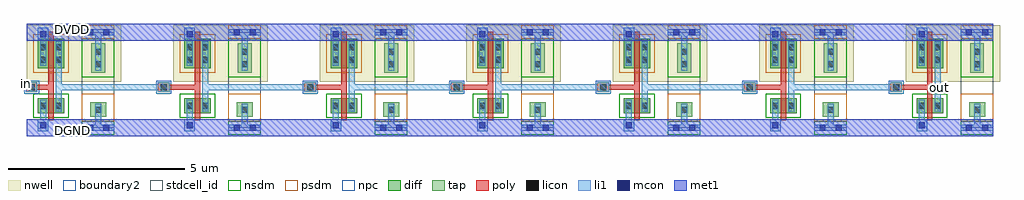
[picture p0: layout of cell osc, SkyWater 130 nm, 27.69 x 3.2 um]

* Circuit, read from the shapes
.subckt osc DGND DVDD in out
XM1 n1 in DGND DGND sky130_fd_pr__nfet_01v8 w=0.42 l=0.15
XM2 n2 n1 DGND DGND sky130_fd_pr__nfet_01v8 w=0.42 l=0.15
XM3 n3 n2 DGND DGND sky130_fd_pr__nfet_01v8 w=0.42 l=0.15
XM4 n4 n3 DGND DGND sky130_fd_pr__nfet_01v8 w=0.42 l=0.15
XM5 n5 n4 DGND DGND sky130_fd_pr__nfet_01v8 w=0.42 l=0.15
XM6 n6 n5 DGND DGND sky130_fd_pr__nfet_01v8 w=0.42 l=0.15
XM7 out n6 DGND DGND sky130_fd_pr__nfet_01v8 w=0.42 l=0.15
XM8 n1 in DVDD DVDD sky130_fd_pr__pfet_01v8 w=0.84 l=0.15
XM9 n2 n1 DVDD DVDD sky130_fd_pr__pfet_01v8 w=0.84 l=0.15
XM10 n3 n2 DVDD DVDD sky130_fd_pr__pfet_01v8 w=0.84 l=0.15
XM11 n4 n3 DVDD DVDD sky130_fd_pr__pfet_01v8 w=0.84 l=0.15
XM12 n5 n4 DVDD DVDD sky130_fd_pr__pfet_01v8 w=0.84 l=0.15
XM13 n6 n5 DVDD DVDD sky130_fd_pr__pfet_01v8 w=0.84 l=0.15
XM14 out n6 DVDD DVDD sky130_fd_pr__pfet_01v8 w=0.84 l=0.15
.ends

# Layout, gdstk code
import gdstk
lib = gdstk.Library(unit=1e-6, precision=1e-09)
def R(c, l, rs):  # rectangles x0, y0, x1, y1
    for r in rs: c.add(gdstk.rectangle(r[:2], r[2:], *l))
nwell = (64, 20)
diff = (65, 20)
tap = (65, 44)
poly = (66, 20)
licon = (66, 44)
li1 = (67, 20)
mcon = (67, 44)
met1 = (68, 20)
stdcell_id = (81, 4)
nsdm = (93, 44)
psdm = (94, 20)
npc = (95, 20)
boundary2 = (236, 0)

tap_ = lib.new_cell('tap')
R(tap_, nwell, [(-0.19,1.305,1.11,2.91)])
R(tap_, tap, [(0.235,0.315,0.685,0.735), (0.265,1.565,0.655,2.405)])
R(tap_, licon, [(0.375,0.425,0.545,0.595), (0.375,1.72,0.545,1.89), (0.375,2.08,0.545,2.25)])
R(tap_, li1, [(0,-0.085,0.92,0.085), (0.375,0,0.545,0.69), (0.375,1.625,0.545,2.72), (0,2.635,0.92,2.805)])
R(tap_, mcon, [(0.145,-0.085,0.315,0.085), (0.605,-0.085,0.775,0.085), (0.145,2.635,0.315,2.805), (0.605,2.635,0.775,2.805)])
R(tap_, met1, [(0,-0.24,0.92,0.24), (0,2.48,0.92,2.96)])
R(tap_, stdcell_id, [(0,0,0.92,2.72)])
R(tap_, nsdm, [(0,-0.19,0.92,0.19), (0,1.44,0.92,2.53)])
R(tap_, psdm, [(0,0.19,0.92,0.975), (0,2.53,0.92,2.91)])
R(tap_, boundary2, [(0,0,0.92,2.72)])
tap_.add(gdstk.Label('tap', (0,0), layer=83, texttype=44))

pfet = lib.new_cell('pfet')
R(pfet, nwell, [(-0.315,-0.39,1.065,1.23)])
R(pfet, diff, [(0,0,0.75,0.84)])
R(pfet, poly, [(0.3,-0.2,0.45,1.04)])
R(pfet, licon, [(0.065,0.155,0.235,0.325), (0.515,0.155,0.685,0.325), (0.065,0.515,0.235,0.685), (0.515,0.515,0.685,0.685)])
R(pfet, li1, [(0.065,0.075,0.235,0.765), (0.515,0.075,0.685,0.765)])
R(pfet, psdm, [(-0.125,-0.125,0.875,0.965)])

nfet = lib.new_cell('nfet')
R(nfet, diff, [(0,0,0.75,0.42)])
R(nfet, poly, [(0.3,-0.2,0.45,0.62)])
R(nfet, licon, [(0.065,0.125,0.235,0.295), (0.515,0.125,0.685,0.295)])
R(nfet, li1, [(0.065,0.045,0.235,0.375), (0.515,0.045,0.685,0.375)])
R(nfet, nsdm, [(-0.125,-0.125,0.875,0.545)])

vias_gen = lib.new_cell('vias_gen')
R(vias_gen, li1, [(0,0,0.29,0.36)])
R(vias_gen, mcon, [(0.06,0.095,0.23,0.265)])
R(vias_gen, met1, [(0,0,0.29,0.36)])

vias_gen_1 = lib.new_cell('vias_gen$1')
R(vias_gen_1, li1, [(0,0,0.29,0.335)])
R(vias_gen_1, mcon, [(0.06,0.08,0.23,0.25)])
R(vias_gen_1, met1, [(0,0,0.29,0.335)])

vias_gen_2 = lib.new_cell('vias_gen$2')
R(vias_gen_2, poly, [(0,0,0.33,0.27)])
R(vias_gen_2, licon, [(0.08,0.05,0.25,0.22)])
R(vias_gen_2, li1, [(0,0,0.33,0.27)])
R(vias_gen_2, npc, [(-0.05,-0.05,0.38,0.32)])

osc = lib.new_cell('osc')
osc.add(gdstk.FlexPath([(3.035,-0.045),(2.62,-0.045)], 0.15, ends="flush", simple_path=True, layer=66, datatype=20))  # poly
osc.add(gdstk.FlexPath([(-0.84,-0.045),(-1.12,-0.045)], 0.15, ends="flush", simple_path=True, layer=66, datatype=20))  # poly
osc.add(gdstk.FlexPath([(7.19,-0.045),(6.775,-0.045)], 0.15, ends="flush", simple_path=True, layer=66, datatype=20))  # poly
osc.add(gdstk.FlexPath([(11.345,-0.045),(10.93,-0.045)], 0.15, ends="flush", simple_path=True, layer=66, datatype=20))  # poly
osc.add(gdstk.FlexPath([(15.5,-0.045),(15.085,-0.045)], 0.15, ends="flush", simple_path=True, layer=66, datatype=20))  # poly
osc.add(gdstk.FlexPath([(19.655,-0.045),(19.24,-0.045)], 0.15, ends="flush", simple_path=True, layer=66, datatype=20))  # poly
osc.add(gdstk.FlexPath([(23.81,-0.045),(23.395,-0.045)], 0.15, ends="flush", simple_path=True, layer=66, datatype=20))  # poly
osc.add(gdstk.FlexPath([(3.315,-0.045),(3.035,-0.045)], 0.15, ends="flush", simple_path=True, layer=66, datatype=20))  # poly
osc.add(gdstk.FlexPath([(7.47,-0.045),(7.19,-0.045)], 0.15, ends="flush", simple_path=True, layer=66, datatype=20))  # poly
osc.add(gdstk.FlexPath([(11.625,-0.045),(11.345,-0.045)], 0.15, ends="flush", simple_path=True, layer=66, datatype=20))  # poly
osc.add(gdstk.FlexPath([(15.78,-0.045),(15.5,-0.045)], 0.15, ends="flush", simple_path=True, layer=66, datatype=20))  # poly
osc.add(gdstk.FlexPath([(19.935,-0.045),(19.655,-0.045)], 0.15, ends="flush", simple_path=True, layer=66, datatype=20))  # poly
osc.add(gdstk.FlexPath([(24.09,-0.045),(23.81,-0.045)], 0.15, ends="flush", simple_path=True, layer=66, datatype=20))  # poly
osc.add(gdstk.FlexPath([(3.725,0.295),(3.725,-0.16)], 0.15, ends="flush", simple_path=True, layer=66, datatype=20))  # poly
osc.add(gdstk.FlexPath([(7.88,0.295),(7.88,-0.16)], 0.15, ends="flush", simple_path=True, layer=66, datatype=20))  # poly
osc.add(gdstk.FlexPath([(12.035,0.295),(12.035,-0.16)], 0.15, ends="flush", simple_path=True, layer=66, datatype=20))  # poly
osc.add(gdstk.FlexPath([(16.19,0.295),(16.19,-0.16)], 0.15, ends="flush", simple_path=True, layer=66, datatype=20))  # poly
osc.add(gdstk.FlexPath([(20.345,0.295),(20.345,-0.16)], 0.15, ends="flush", simple_path=True, layer=66, datatype=20))  # poly
osc.add(gdstk.FlexPath([(24.5,0.295),(24.5,-0.16)], 0.15, ends="flush", simple_path=True, layer=66, datatype=20))  # poly
osc.add(gdstk.FlexPath([(3.315,-0.045),(3.65,-0.045)], 0.15, ends="flush", simple_path=True, layer=66, datatype=20))  # poly
osc.add(gdstk.FlexPath([(7.47,-0.045),(7.805,-0.045)], 0.15, ends="flush", simple_path=True, layer=66, datatype=20))  # poly
osc.add(gdstk.FlexPath([(11.625,-0.045),(11.96,-0.045)], 0.15, ends="flush", simple_path=True, layer=66, datatype=20))  # poly
osc.add(gdstk.FlexPath([(15.78,-0.045),(16.115,-0.045)], 0.15, ends="flush", simple_path=True, layer=66, datatype=20))  # poly
osc.add(gdstk.FlexPath([(19.935,-0.045),(20.27,-0.045)], 0.15, ends="flush", simple_path=True, layer=66, datatype=20))  # poly
osc.add(gdstk.FlexPath([(24.09,-0.045),(24.425,-0.045)], 0.15, ends="flush", simple_path=True, layer=66, datatype=20))  # poly
osc.add(gdstk.FlexPath([(-0.43,0.295),(-0.43,-0.16)], 0.15, ends="flush", simple_path=True, layer=66, datatype=20))  # poly
osc.add(gdstk.FlexPath([(-0.84,-0.045),(-0.505,-0.045)], 0.15, ends="flush", simple_path=True, layer=66, datatype=20))  # poly
osc.add(gdstk.FlexPath([(4.035,-0.045),(7.075,-0.045)], 0.17, ends="flush", simple_path=True, layer=67, datatype=20))  # li1
osc.add(gdstk.FlexPath([(8.19,-0.045),(11.23,-0.045)], 0.17, ends="flush", simple_path=True, layer=67, datatype=20))  # li1
osc.add(gdstk.FlexPath([(12.345,-0.045),(15.385,-0.045)], 0.17, ends="flush", simple_path=True, layer=67, datatype=20))  # li1
osc.add(gdstk.FlexPath([(16.5,-0.045),(19.54,-0.045)], 0.17, ends="flush", simple_path=True, layer=67, datatype=20))  # li1
osc.add(gdstk.FlexPath([(20.655,-0.045),(23.695,-0.045)], 0.17, ends="flush", simple_path=True, layer=67, datatype=20))  # li1
osc.add(gdstk.FlexPath([(3.5,1.26),(3.5,1.64)], 0.17, ends="flush", simple_path=True, layer=67, datatype=20))  # li1
osc.add(gdstk.FlexPath([(7.655,1.26),(7.655,1.64)], 0.17, ends="flush", simple_path=True, layer=67, datatype=20))  # li1
osc.add(gdstk.FlexPath([(11.81,1.26),(11.81,1.64)], 0.17, ends="flush", simple_path=True, layer=67, datatype=20))  # li1
osc.add(gdstk.FlexPath([(15.965,1.26),(15.965,1.64)], 0.17, ends="flush", simple_path=True, layer=67, datatype=20))  # li1
osc.add(gdstk.FlexPath([(20.12,1.26),(20.12,1.64)], 0.17, ends="flush", simple_path=True, layer=67, datatype=20))  # li1
osc.add(gdstk.FlexPath([(24.275,1.26),(24.275,1.64)], 0.17, ends="flush", simple_path=True, layer=67, datatype=20))  # li1
osc.add(gdstk.FlexPath([(3.5,-0.735),(3.5,-1.295)], 0.17, ends="flush", simple_path=True, layer=67, datatype=20))  # li1
osc.add(gdstk.FlexPath([(7.655,-0.735),(7.655,-1.295)], 0.17, ends="flush", simple_path=True, layer=67, datatype=20))  # li1
osc.add(gdstk.FlexPath([(11.81,-0.735),(11.81,-1.295)], 0.17, ends="flush", simple_path=True, layer=67, datatype=20))  # li1
osc.add(gdstk.FlexPath([(15.965,-0.735),(15.965,-1.295)], 0.17, ends="flush", simple_path=True, layer=67, datatype=20))  # li1
osc.add(gdstk.FlexPath([(20.12,-0.735),(20.12,-1.295)], 0.17, ends="flush", simple_path=True, layer=67, datatype=20))  # li1
osc.add(gdstk.FlexPath([(24.275,-0.735),(24.275,-1.295)], 0.17, ends="flush", simple_path=True, layer=67, datatype=20))  # li1
osc.add(gdstk.FlexPath([(3.95,0.57),(3.95,-0.405),(3.95,-0.405)], 0.17, ends="flush", simple_path=True, layer=67, datatype=20))  # li1
osc.add(gdstk.FlexPath([(8.105,0.57),(8.105,-0.405),(8.105,-0.405)], 0.17, ends="flush", simple_path=True, layer=67, datatype=20))  # li1
osc.add(gdstk.FlexPath([(12.26,0.57),(12.26,-0.405),(12.26,-0.405)], 0.17, ends="flush", simple_path=True, layer=67, datatype=20))  # li1
osc.add(gdstk.FlexPath([(16.415,0.57),(16.415,-0.405),(16.415,-0.405)], 0.17, ends="flush", simple_path=True, layer=67, datatype=20))  # li1
osc.add(gdstk.FlexPath([(20.57,0.57),(20.57,-0.405),(20.57,-0.405)], 0.17, ends="flush", simple_path=True, layer=67, datatype=20))  # li1
osc.add(gdstk.FlexPath([(24.725,0.57),(24.725,-0.405),(24.725,-0.405)], 0.17, ends="flush", simple_path=True, layer=67, datatype=20))  # li1
osc.add(gdstk.FlexPath([(-0.12,-0.045),(2.92,-0.045)], 0.17, ends="flush", simple_path=True, layer=67, datatype=20))  # li1
osc.add(gdstk.FlexPath([(-0.655,1.26),(-0.655,1.64)], 0.17, ends="flush", simple_path=True, layer=67, datatype=20))  # li1
osc.add(gdstk.FlexPath([(-0.655,-0.735),(-0.655,-1.295)], 0.17, ends="flush", simple_path=True, layer=67, datatype=20))  # li1
osc.add(gdstk.FlexPath([(-0.205,0.57),(-0.205,-0.405),(-0.205,-0.405)], 0.17, ends="flush", simple_path=True, layer=67, datatype=20))  # li1
osc.add(gdstk.FlexPath([(4.605,1.52),(3.035,1.52)], 0.48, ends="flush", simple_path=True, layer=68, datatype=20))  # met1
osc.add(gdstk.FlexPath([(8.76,1.52),(7.19,1.52)], 0.48, ends="flush", simple_path=True, layer=68, datatype=20))  # met1
osc.add(gdstk.FlexPath([(12.915,1.52),(11.345,1.52)], 0.48, ends="flush", simple_path=True, layer=68, datatype=20))  # met1
osc.add(gdstk.FlexPath([(17.07,1.52),(15.5,1.52)], 0.48, ends="flush", simple_path=True, layer=68, datatype=20))  # met1
osc.add(gdstk.FlexPath([(21.225,1.52),(19.655,1.52)], 0.48, ends="flush", simple_path=True, layer=68, datatype=20))  # met1
osc.add(gdstk.FlexPath([(25.38,1.52),(23.81,1.52)], 0.48, ends="flush", simple_path=True, layer=68, datatype=20))  # met1
osc.add(gdstk.FlexPath([(4.605,-1.2),(3.035,-1.2)], 0.48, ends="flush", simple_path=True, layer=68, datatype=20))  # met1
osc.add(gdstk.FlexPath([(8.76,-1.2),(7.19,-1.2)], 0.48, ends="flush", simple_path=True, layer=68, datatype=20))  # met1
osc.add(gdstk.FlexPath([(12.915,-1.2),(11.345,-1.2)], 0.48, ends="flush", simple_path=True, layer=68, datatype=20))  # met1
osc.add(gdstk.FlexPath([(17.07,-1.2),(15.5,-1.2)], 0.48, ends="flush", simple_path=True, layer=68, datatype=20))  # met1
osc.add(gdstk.FlexPath([(21.225,-1.2),(19.655,-1.2)], 0.48, ends="flush", simple_path=True, layer=68, datatype=20))  # met1
osc.add(gdstk.FlexPath([(25.38,-1.2),(23.81,-1.2)], 0.48, ends="flush", simple_path=True, layer=68, datatype=20))  # met1
osc.add(gdstk.FlexPath([(1.37,1.52),(3.035,1.52)], 0.48, ends="flush", simple_path=True, layer=68, datatype=20))  # met1
osc.add(gdstk.FlexPath([(5.525,1.52),(7.19,1.52)], 0.48, ends="flush", simple_path=True, layer=68, datatype=20))  # met1
osc.add(gdstk.FlexPath([(9.68,1.52),(11.345,1.52)], 0.48, ends="flush", simple_path=True, layer=68, datatype=20))  # met1
osc.add(gdstk.FlexPath([(13.835,1.52),(15.5,1.52)], 0.48, ends="flush", simple_path=True, layer=68, datatype=20))  # met1
osc.add(gdstk.FlexPath([(17.99,1.52),(19.655,1.52)], 0.48, ends="flush", simple_path=True, layer=68, datatype=20))  # met1
osc.add(gdstk.FlexPath([(22.145,1.52),(23.81,1.52)], 0.48, ends="flush", simple_path=True, layer=68, datatype=20))  # met1
osc.add(gdstk.FlexPath([(1.37,-1.2),(3.035,-1.2)], 0.48, ends="flush", simple_path=True, layer=68, datatype=20))  # met1
osc.add(gdstk.FlexPath([(5.525,-1.2),(7.19,-1.2)], 0.48, ends="flush", simple_path=True, layer=68, datatype=20))  # met1
osc.add(gdstk.FlexPath([(9.68,-1.2),(11.345,-1.2)], 0.48, ends="flush", simple_path=True, layer=68, datatype=20))  # met1
osc.add(gdstk.FlexPath([(13.835,-1.2),(15.5,-1.2)], 0.48, ends="flush", simple_path=True, layer=68, datatype=20))  # met1
osc.add(gdstk.FlexPath([(17.99,-1.2),(19.655,-1.2)], 0.48, ends="flush", simple_path=True, layer=68, datatype=20))  # met1
osc.add(gdstk.FlexPath([(22.145,-1.2),(23.81,-1.2)], 0.48, ends="flush", simple_path=True, layer=68, datatype=20))  # met1
osc.add(gdstk.FlexPath([(0.45,1.52),(-1.12,1.52)], 0.48, ends="flush", simple_path=True, layer=68, datatype=20))  # met1
osc.add(gdstk.FlexPath([(0.45,-1.2),(-1.12,-1.2)], 0.48, ends="flush", simple_path=True, layer=68, datatype=20))  # met1
osc.add(gdstk.Reference(tap_, (0.45,-1.2)))
osc.add(gdstk.Reference(pfet, (-0.805,0.495)))
osc.add(gdstk.Reference(nfet, (-0.805,-0.78)))
osc.add(gdstk.Reference(vias_gen, (-0.8,1.28)))
osc.add(gdstk.Reference(vias_gen_1, (-0.8,-1.295)))
osc.add(gdstk.Reference(vias_gen_2, (2.605,-0.18)))
osc.add(gdstk.Reference(vias_gen_2, (-1.145,-0.18)))
osc.add(gdstk.Reference(tap_, (4.605,-1.2)))
osc.add(gdstk.Reference(tap_, (8.76,-1.2)))
osc.add(gdstk.Reference(tap_, (12.915,-1.2)))
osc.add(gdstk.Reference(tap_, (17.07,-1.2)))
osc.add(gdstk.Reference(tap_, (21.225,-1.2)))
osc.add(gdstk.Reference(tap_, (25.38,-1.2)))
osc.add(gdstk.Reference(pfet, (3.35,0.495)))
osc.add(gdstk.Reference(pfet, (7.505,0.495)))
osc.add(gdstk.Reference(pfet, (11.66,0.495)))
osc.add(gdstk.Reference(pfet, (15.815,0.495)))
osc.add(gdstk.Reference(pfet, (19.97,0.495)))
osc.add(gdstk.Reference(pfet, (24.125,0.495)))
osc.add(gdstk.Reference(nfet, (3.35,-0.78)))
osc.add(gdstk.Reference(nfet, (7.505,-0.78)))
osc.add(gdstk.Reference(nfet, (11.66,-0.78)))
osc.add(gdstk.Reference(nfet, (15.815,-0.78)))
osc.add(gdstk.Reference(nfet, (19.97,-0.78)))
osc.add(gdstk.Reference(nfet, (24.125,-0.78)))
osc.add(gdstk.Reference(vias_gen, (3.355,1.28)))
osc.add(gdstk.Reference(vias_gen, (7.51,1.28)))
osc.add(gdstk.Reference(vias_gen, (11.665,1.28)))
osc.add(gdstk.Reference(vias_gen, (15.82,1.28)))
osc.add(gdstk.Reference(vias_gen, (19.975,1.28)))
osc.add(gdstk.Reference(vias_gen, (24.13,1.28)))
osc.add(gdstk.Reference(vias_gen_1, (3.355,-1.295)))
osc.add(gdstk.Reference(vias_gen_1, (7.51,-1.295)))
osc.add(gdstk.Reference(vias_gen_1, (11.665,-1.295)))
osc.add(gdstk.Reference(vias_gen_1, (15.82,-1.295)))
osc.add(gdstk.Reference(vias_gen_1, (19.975,-1.295)))
osc.add(gdstk.Reference(vias_gen_1, (24.13,-1.295)))
osc.add(gdstk.Reference(vias_gen_2, (6.76,-0.18)))
osc.add(gdstk.Reference(vias_gen_2, (10.915,-0.18)))
osc.add(gdstk.Reference(vias_gen_2, (15.07,-0.18)))
osc.add(gdstk.Reference(vias_gen_2, (19.225,-0.18)))
osc.add(gdstk.Reference(vias_gen_2, (23.38,-0.18)))
osc.add(gdstk.Label('out', (24.765,-0.06), layer=67, texttype=5))
osc.add(gdstk.Label('in', (-1.115,0.07), layer=67, texttype=5))
osc.add(gdstk.Label('DGND', (0.18,-1.28), layer=68, texttype=5))
osc.add(gdstk.Label('DVDD', (0.17,1.585), layer=68, texttype=5))

lib.write_gds('osc.gds')
